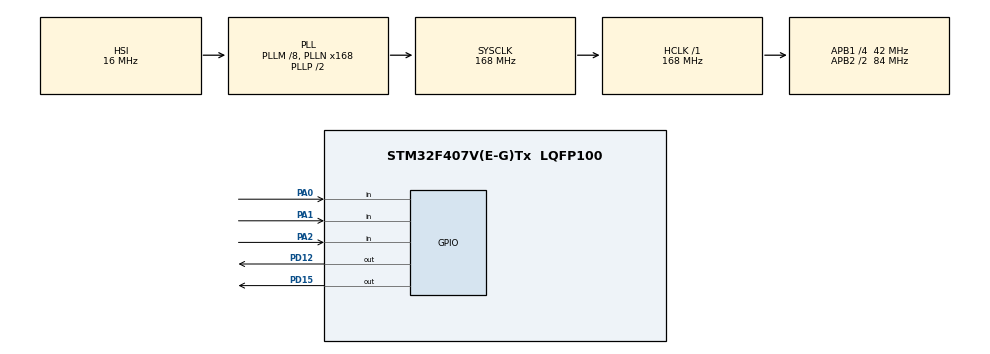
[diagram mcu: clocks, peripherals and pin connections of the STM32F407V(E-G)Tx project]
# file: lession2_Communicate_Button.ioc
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Mcu.Family=STM32F4
Mcu.Name=STM32F407V(E-G)Tx
Mcu.Package=LQFP100
NVIC.PriorityGroup=NVIC_PRIORITYGROUP_4
PA0-WKUP.Signal=GPIO_Input
PA1.Signal=GPIO_Input
PA13.Mode=Serial_Wire
PA13.Signal=SYS_JTMS-SWDIO
PA14.Mode=Serial_Wire
PA14.Signal=SYS_JTCK-SWCLK
PA2.Signal=GPIO_Input
PD12.Signal=GPIO_Output
PD15.Signal=GPIO_Output
PH0-OSC_IN.Mode=HSE-External-Oscillator
PH0-OSC_IN.Signal=RCC_OSC_IN
PH1-OSC_OUT.Mode=HSE-External-Oscillator
PH1-OSC_OUT.Signal=RCC_OSC_OUT
ProjectManager.HeapSize=0x200
ProjectManager.StackSize=0x400
ProjectManager.TargetToolchain=MDK-ARM V5
RCC.48MHZClocksFreq_Value=84000000
RCC.AHBFreq_Value=168000000
RCC.APB1CLKDivider=RCC_HCLK_DIV4
RCC.APB1Freq_Value=42000000
RCC.APB1TimFreq_Value=84000000
RCC.APB2CLKDivider=RCC_HCLK_DIV2
RCC.APB2Freq_Value=84000000
RCC.APB2TimFreq_Value=168000000
RCC.CortexFreq_Value=168000000
RCC.HCLKFreq_Value=168000000
RCC.HSE_VALUE=8000000
RCC.HSI_VALUE=16000000
RCC.LSE_VALUE=32768
RCC.PLLM=8
RCC.PLLN=168
RCC.SYSCLKFreq_VALUE=168000000
RCC.SYSCLKSource=RCC_SYSCLKSOURCE_PLLCLK
RCC.VCOOutputFreq_Value=336000000
board=custom

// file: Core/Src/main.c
/* USER CODE BEGIN Header */
/**
  ******************************************************************************
  * @file           : main.c
  * @brief          : Main program body
  ******************************************************************************
  * @attention
  *
  * Copyright (c) 2022 STMicroelectronics.
  * All rights reserved.
  *
  * This software is licensed under terms that can be found in the LICENSE file
  * in the root directory of this software component.
  * If no LICENSE file comes with this software, it is provided AS-IS.
  *
  ******************************************************************************
  */
/* USER CODE END Header */
#include "main.h"

void SystemClock_Config(void);
static void MX_GPIO_Init(void);

/* USER CODE BEGIN 0 */
enum StatusLed{
	LED_OFF,
	LED_ON
};

enum StatusButton
{
	Button_Released,
	Button_Pressed
};

uint8_t statusButton1;
uint8_t statusButton2;
uint8_t statusButton3;

/* USER CODE END 0 */

int main(void)
{

  /* MCU Configuration--------------------------------------------------------*/

  /* Reset of all peripherals, Initializes the Flash interface and the Systick. */
  HAL_Init();

  /* Configure the system clock */
  SystemClock_Config();

  /* Initialize all configured peripherals */
  MX_GPIO_Init();

  /* Infinite loop */
  while (1)
  {

    /* USER CODE BEGIN 3 */
		statusButton1 = HAL_GPIO_ReadPin(GPIOA, GPIO_PIN_0);
		statusButton2 = HAL_GPIO_ReadPin(GPIOA, GPIO_PIN_1);
		statusButton3 = HAL_GPIO_ReadPin(GPIOA, GPIO_PIN_2);

		if(statusButton1 == Button_Pressed)
		{
				HAL_GPIO_WritePin(GPIOD, GPIO_PIN_12, GPIO_PIN_SET);
		}
		else
		{
				HAL_GPIO_WritePin(GPIOD, GPIO_PIN_12, GPIO_PIN_RESET);
		}

  }
  /* USER CODE END 3 */
}

void SystemClock_Config(void)
{
  RCC_OscInitTypeDef RCC_OscInitStruct = {0};
  RCC_ClkInitTypeDef RCC_ClkInitStruct = {0};

  /** Configure the main internal regulator output voltage
  */
  __HAL_RCC_PWR_CLK_ENABLE();
  __HAL_PWR_VOLTAGESCALING_CONFIG(PWR_REGULATOR_VOLTAGE_SCALE1);

  /** Initializes the RCC Oscillators according to the specified parameters
  * in the RCC_OscInitTypeDef structure.
  */
  RCC_OscInitStruct.OscillatorType = RCC_OSCILLATORTYPE_HSI;
  RCC_OscInitStruct.HSIState = RCC_HSI_ON;
  RCC_OscInitStruct.HSICalibrationValue = RCC_HSICALIBRATION_DEFAULT;
  RCC_OscInitStruct.PLL.PLLState = RCC_PLL_ON;
  RCC_OscInitStruct.PLL.PLLSource = RCC_PLLSOURCE_HSI;
  RCC_OscInitStruct.PLL.PLLM = 8;
  RCC_OscInitStruct.PLL.PLLN = 168;
  RCC_OscInitStruct.PLL.PLLP = RCC_PLLP_DIV2;
  RCC_OscInitStruct.PLL.PLLQ = 4;
  if (HAL_RCC_OscConfig(&RCC_OscInitStruct) != HAL_OK)
  {
    Error_Handler();
  }

  /** Initializes the CPU, AHB and APB buses clocks
  */
  RCC_ClkInitStruct.ClockType = RCC_CLOCKTYPE_HCLK|RCC_CLOCKTYPE_SYSCLK
                              |RCC_CLOCKTYPE_PCLK1|RCC_CLOCKTYPE_PCLK2;
  RCC_ClkInitStruct.SYSCLKSource = RCC_SYSCLKSOURCE_PLLCLK;
  RCC_ClkInitStruct.AHBCLKDivider = RCC_SYSCLK_DIV1;
  RCC_ClkInitStruct.APB1CLKDivider = RCC_HCLK_DIV4;
  RCC_ClkInitStruct.APB2CLKDivider = RCC_HCLK_DIV2;

  if (HAL_RCC_ClockConfig(&RCC_ClkInitStruct, FLASH_LATENCY_5) != HAL_OK)
  {
    Error_Handler();
  }
}

static void MX_GPIO_Init(void)
{
  GPIO_InitTypeDef GPIO_InitStruct = {0};

  /* GPIO Ports Clock Enable */
  __HAL_RCC_GPIOH_CLK_ENABLE();
  __HAL_RCC_GPIOA_CLK_ENABLE();
  __HAL_RCC_GPIOD_CLK_ENABLE();

  /*Configure GPIO pin Output Level */
  HAL_GPIO_WritePin(GPIOD, GPIO_PIN_12|GPIO_PIN_15, GPIO_PIN_RESET);

  /*Configure GPIO pins : PA0 PA1 PA2 */
  GPIO_InitStruct.Pin = GPIO_PIN_0|GPIO_PIN_1|GPIO_PIN_2;
  GPIO_InitStruct.Mode = GPIO_MODE_INPUT;
  GPIO_InitStruct.Pull = GPIO_NOPULL;
  HAL_GPIO_Init(GPIOA, &GPIO_InitStruct);

  /*Configure GPIO pins : PD12 PD15 */
  GPIO_InitStruct.Pin = GPIO_PIN_12|GPIO_PIN_15;
  GPIO_InitStruct.Mode = GPIO_MODE_OUTPUT_PP;
  GPIO_InitStruct.Pull = GPIO_NOPULL;
  GPIO_InitStruct.Speed = GPIO_SPEED_FREQ_LOW;
  HAL_GPIO_Init(GPIOD, &GPIO_InitStruct);

}

void Error_Handler(void)
{
  __disable_irq();
  while (1)
  {
  }
}
